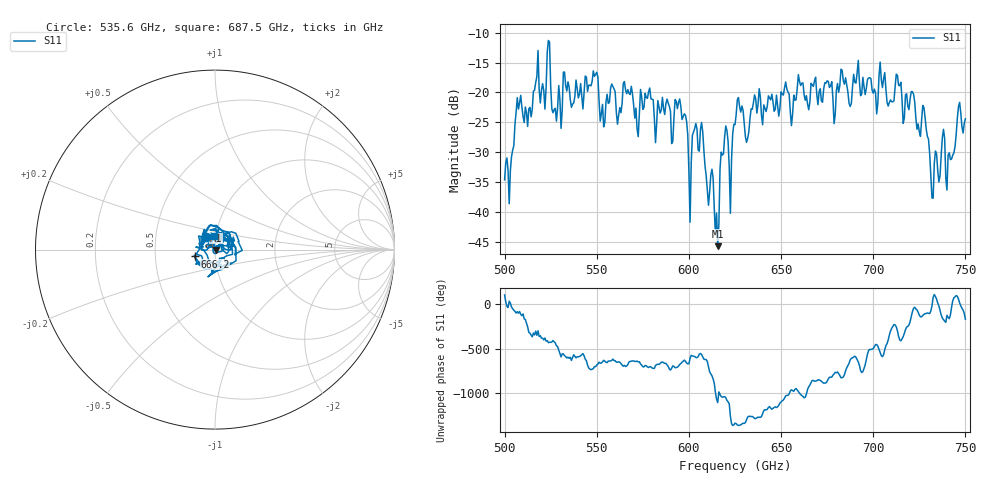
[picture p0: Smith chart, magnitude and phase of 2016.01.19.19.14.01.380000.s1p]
!Created with skrf (http://scikit-rf.org).
# GHz S RI R 50.0
!freq ReS11 ImS11
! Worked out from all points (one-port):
!   401 points, 500 GHz to 750 GHz, reference 50 ohm
!   lowest |S11| = -45.7 dB at 615.6 GHz (marker M1), VSWR 1.01, Z = 50.5 - j0.2 ohm
!   |S11| at or under -10 dB: start of sweep to end of sweep
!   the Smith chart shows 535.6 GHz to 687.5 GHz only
!   S11 on the Smith chart (normalised r, x): 535.6 GHz: 0.90, +0.13; 666.2 GHz: 0.79, -0.06; 687.5 GHz: 0.97, +0.15
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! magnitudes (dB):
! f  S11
! 500 GHz  -34.6
! 503.8 GHz  -30.8
! 507.5 GHz  -22.8
! 513.8 GHz  -22.5
! 516.9 GHz  -18.3
! 523.8 GHz  -11.3
! 526.9 GHz  -22.9
! 531.2 GHz  -23.0
! 535.6 GHz  -21.2
! 549.4 GHz  -17.0
! 553.1 GHz  -22.0
! 558.8 GHz  -19.0
! 562.5 GHz  -22.5
! 593.8 GHz  -22.7
! 600.6 GHz  -41.7
! 603.1 GHz  -26.0
! 607.5 GHz  -26.6
! 615.6 GHz  -45.7
! 618.8 GHz  -30.3
! 622.5 GHz  -40.2
! 625 GHz  -25.4
! 656.2 GHz  -23.6
! 666.2 GHz  -18.5
! 687.5 GHz  -22.3
! 718.8 GHz  -22.3
! 728.1 GHz  -24.2
! 731.9 GHz  -37.7
! 750 GHz  -24.4
